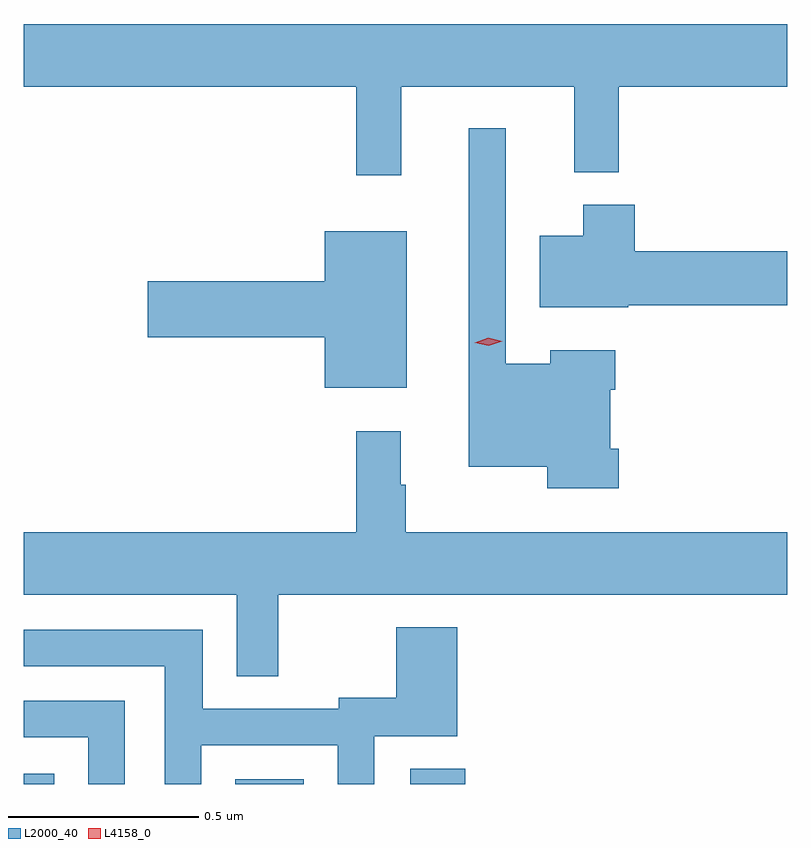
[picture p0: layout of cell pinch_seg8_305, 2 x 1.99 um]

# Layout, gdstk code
import gdstk
lib = gdstk.Library(unit=1e-6, precision=1e-09)
def R(c, l, rs):  # rectangles x0, y0, x1, y1
    for r in rs: c.add(gdstk.rectangle(r[:2], r[2:], *l))
def P(c, l, *ps):  # polygons
    for p in ps: c.add(gdstk.Polygon(p, *l))
L2000_40 = (2000, 40)
L4158_0 = (4158, 0)

pinch_seg8_305 = lib.new_cell('pinch_seg8_305')
R(pinch_seg8_305, L2000_40, [(537.972,1126.66,538.051,1126.687), (538.526,1126.66,538.705,1126.672), (538.985,1126.66,539.129,1126.7)])
P(pinch_seg8_305, L2000_40, [(538.961,1128.488),(539.414,1128.488),(539.414,1128.263),(539.531,1128.263),(539.531,1128.488),(539.972,1128.488),(539.972,1128.652),(537.972,1128.652),(537.972,1128.488),(538.843,1128.488),(538.843,1128.255),(538.961,1128.255)],
  [(539.531,1127.539),(539.509,1127.539),(539.509,1127.693),(539.522,1127.693),(539.522,1127.797),(539.351,1127.797),(539.351,1127.761),(539.235,1127.761),(539.235,1128.379),(539.138,1128.379),(539.138,1127.492),(539.344,1127.492),(539.344,1127.435),(539.531,1127.435)],
  [(539.556,1127.915),(539.972,1127.915),(539.972,1128.057),(539.573,1128.057),(539.573,1128.178),(539.438,1128.178),(539.438,1128.097),(539.324,1128.097),(539.324,1127.909),(539.556,1127.909)],
  [(538.975,1128.109),(538.76,1128.109),(538.76,1127.978),(538.296,1127.978),(538.296,1127.831),(538.76,1127.831),(538.76,1127.699),(538.975,1127.699)],
  [(538.639,1127.156),(539.972,1127.156),(539.972,1127.32),(538.972,1127.32),(538.972,1127.444),(538.96,1127.444),(538.96,1127.584),(538.843,1127.584),(538.843,1127.32),(537.972,1127.32),(537.972,1127.156),(538.53,1127.156),(538.53,1126.942),(538.639,1126.942)],
  [(538.437,1126.761),(538.794,1126.761),(538.794,1126.66),(538.89,1126.66),(538.89,1126.785),(539.108,1126.785),(539.108,1127.071),(538.948,1127.071),(538.948,1126.886),(538.797,1126.886),(538.797,1126.857),(538.441,1126.857),(538.441,1127.064),(537.972,1127.064),(537.972,1126.968),(538.341,1126.968),(538.341,1126.66),(538.437,1126.66)],
  [(538.236,1126.878),(537.972,1126.878),(537.972,1126.782),(538.14,1126.782),(538.14,1126.66),(538.236,1126.66)])
P(pinch_seg8_305, L4158_0, [(539.19,1127.809),(539.154,1127.817),(539.154,1127.817),(539.154,1127.817),(539.189,1127.829),(539.225,1127.821),(539.225,1127.821),(539.225,1127.82)])

lib.write_gds('pinch_seg8_305.gds')
